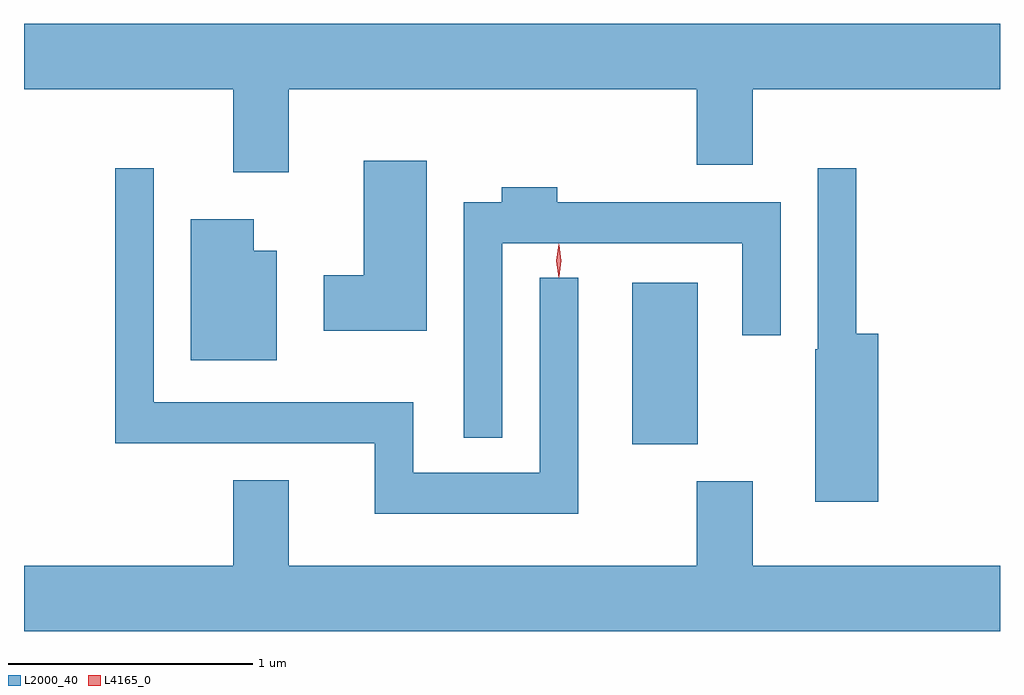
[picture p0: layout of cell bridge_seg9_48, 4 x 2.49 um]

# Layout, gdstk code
import gdstk
lib = gdstk.Library(unit=1e-6, precision=1e-09)
def R(c, l, rs):  # rectangles x0, y0, x1, y1
    for r in rs: c.add(gdstk.rectangle(r[:2], r[2:], *l))
def P(c, l, *ps):  # polygons
    for p in ps: c.add(gdstk.Polygon(p, *l))
L2000_40 = (2000, 40)
L4165_0 = (4165, 0)

bridge_seg9_48 = lib.new_cell('bridge_seg9_48')
R(bridge_seg9_48, L2000_40, [(1496.936,1985.921,1497.204,1986.584)])
P(bridge_seg9_48, L2000_40, [(1495.529,1987.376),(1497.201,1987.376),(1497.201,1987.066),(1497.429,1987.066),(1497.429,1987.376),(1498.443,1987.376),(1498.443,1987.644),(1494.443,1987.644),(1494.443,1987.376),(1495.301,1987.376),(1495.301,1987.036),(1495.529,1987.036)],
  [(1496.094,1987.084),(1495.836,1987.084),(1495.836,1986.614),(1495.671,1986.614),(1495.671,1986.386),(1496.094,1986.386)],
  [(1496.714,1986.603),(1496.556,1986.603),(1496.556,1985.804),(1496.039,1985.804),(1496.039,1986.094),(1494.974,1986.094),(1494.974,1987.053),(1494.816,1987.053),(1494.816,1985.926),(1495.881,1985.926),(1495.881,1985.636),(1496.714,1985.636)],
  [(1497.944,1986.374),(1497.854,1986.374),(1497.854,1987.053),(1497.696,1987.053),(1497.696,1986.31),(1497.686,1986.31),(1497.686,1985.686),(1497.944,1985.686)],
  [(1496.404,1986.746),(1497.386,1986.746),(1497.386,1986.368),(1497.544,1986.368),(1497.544,1986.914),(1496.629,1986.914),(1496.629,1986.974),(1496.401,1986.974),(1496.401,1986.914),(1496.246,1986.914),(1496.246,1985.948),(1496.404,1985.948)],
  [(1495.479,1986.714),(1495.384,1986.714),(1495.384,1986.844),(1495.126,1986.844),(1495.126,1986.266),(1495.479,1986.266)],
  [(1498.443,1985.424),(1497.429,1985.424),(1497.429,1985.769),(1497.201,1985.769),(1497.201,1985.424),(1495.529,1985.424),(1495.529,1985.774),(1495.301,1985.774),(1495.301,1985.424),(1494.443,1985.424),(1494.443,1985.156),(1498.443,1985.156)])
P(bridge_seg9_48, L4165_0, [(1496.635,1986.607),(1496.635,1986.607),(1496.625,1986.674),(1496.635,1986.74),(1496.635,1986.741),(1496.636,1986.74),(1496.645,1986.674),(1496.636,1986.607)],
  [(1496.634,1986.604),(1496.634,1986.604),(1496.624,1986.673),(1496.634,1986.742),(1496.634,1986.743),(1496.635,1986.742),(1496.644,1986.673),(1496.635,1986.604)])

lib.write_gds('bridge_seg9_48.gds')
